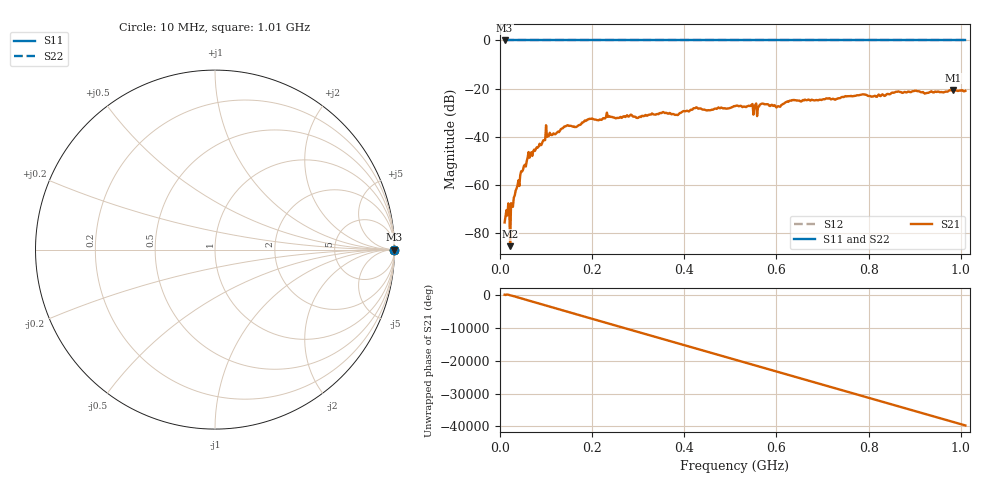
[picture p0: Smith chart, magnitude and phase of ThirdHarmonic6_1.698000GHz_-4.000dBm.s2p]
! 8/16/2025 8:24:04 PM
! C:\ANRITSUVNA\TEMP\TEMP.S2P
! CHANNEL.1
! TR.MEASUREMENT
! RAW.DATA
! RF.CORRECTION.OFF
! AVERAGING.OFF
! IF.BANDWIDTH: 5KHZ
! SWEEPTYPE:  FREQ.SWEEP(Linear)
! Reference Plane Port Info
! PORT:  PORT1  PORT2
! DISTANCE:  0  m  0  m
! TIME:  0  s  0  s
! PHASE.OFFSET:  0  deg.  0  deg.
! LOSS:  0  dB  0  dB
! REF.LOSS:  0  dB  0  dB
! REF.FREQ:  0  Hz  0  Hz
! Power Info
! POWER:  -20  dBm  -20  dBm
! EFF.POWER:  -20  dBm  -20  dBm
! SOURCE.ATTEN:  0  dB  0  dB
! TEST.ATTEN:  0  dB  0  dB
# GHZ S RI R 50.0
! FREQ.GHZ  S11RE  S11IM  S21RE  S21IM  S12RE  S12IM  S22RE  S22IM
!; PortSelection: Port_12
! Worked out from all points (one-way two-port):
!   501 points, 10 MHz to 1.01 GHz, reference 50 ohm
!   highest |S21| = -20.58 dB at 984 MHz (marker M1); lowest = -85.5 dB at 22 MHz (marker M2)
!   lowest |S11| = 0.0 dB at 10 MHz (marker M3)
!   |S11| at or under -10 dB: nowhere
!   |S22| runs from 0.0 to 0.0 dB; largest |S21 - S12| = 1.1
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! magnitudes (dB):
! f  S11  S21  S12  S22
! 10 MHz  0.0  -75.7  0.0  0.0
! 16 MHz  0.0  -72.8  0.0  0.0
! 18 MHz  0.0  -67.8  0.0  0.0
! 22 MHz  0.0  -85.5  0.0  0.0
! 26 MHz  0.0  -68.2  0.0  0.0
! 28 MHz  0.0  -69.2  0.0  0.0
! 48 MHz  0.0  -54.5  0.0  0.0
! 64 MHz  0.0  -48.8  0.0  0.0
! 104 MHz  0.0  -39.8  0.0  0.0
! 178 MHz  0.0  -34.1  0.0  0.0
! 234 MHz  0.0  -31.8  0.0  0.0
! 344 MHz  0.0  -30.7  0.0  0.0
! 510 MHz  0.0  -27.3  0.0  0.0
! 544 MHz  0.0  -27.2  0.0  0.0
! 554 MHz  0.0  -26.8  0.0  0.0
! 568 MHz  0.0  -26.3  0.0  0.0
! 604 MHz  0.0  -27.4  0.0  0.0
! 634 MHz  0.0  -24.8  0.0  0.0
! 678 MHz  0.0  -24.7  0.0  0.0
! 844 MHz  0.0  -22.4  0.0  0.0
! 984 MHz  0.0  -20.6  0.0  0.0
! 1.01 GHz  0.0  -20.9  0.0  0.0
